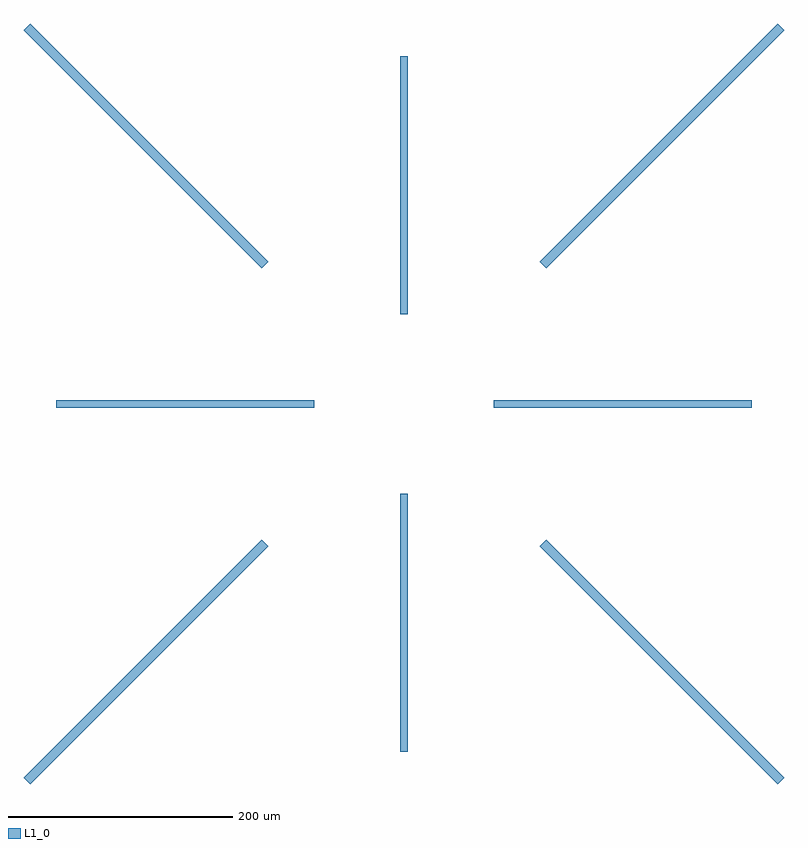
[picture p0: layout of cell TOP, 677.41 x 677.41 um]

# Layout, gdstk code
import gdstk
lib = gdstk.Library(unit=1e-6, precision=1e-09)
def R(c, l, rs):  # rectangles x0, y0, x1, y1
    for r in rs: c.add(gdstk.rectangle(r[:2], r[2:], *l))
def P(c, l, *ps):  # polygons
    for p in ps: c.add(gdstk.Polygon(p, *l))
L1_0 = (1, 0)

top = lib.new_cell('TOP')
R(top, L1_0, [(-3.251,-310,3.25,-80), (-310.001,-3.25,-80.001,3.25), (80,-3.25,310,3.25), (-3.251,80,3.25,310)])
P(top, L1_0, [(-333.048,-338.704),(-338.705,-333.047),(-126.573,-120.915),(-120.916,-126.572)],
  [(333.048,-338.704),(120.916,-126.572),(126.573,-120.915),(338.705,-333.047)],
  [(-126.573,120.915),(-338.705,333.047),(-333.048,338.704),(-120.916,126.572)],
  [(126.573,120.915),(120.916,126.572),(333.048,338.704),(338.705,333.047)])

lib.write_gds('TOP.gds')
